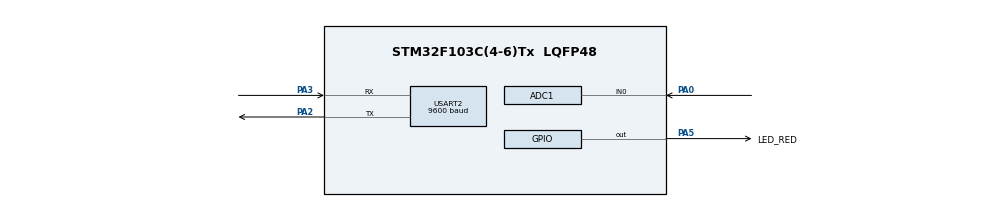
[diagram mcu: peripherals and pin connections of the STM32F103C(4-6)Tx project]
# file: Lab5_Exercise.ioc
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ADC1.Channel-0\#ChannelRegularConversion=ADC_CHANNEL_0
ADC1.ContinuousConvMode=ENABLE
ADC1.NbrOfConversionFlag=1
ADC1.Rank-0\#ChannelRegularConversion=1
ADC1.SamplingTime-0\#ChannelRegularConversion=ADC_SAMPLETIME_1CYCLE_5
ADC1.master=1
Mcu.Family=STM32F1
Mcu.Name=STM32F103C(4-6)Tx
Mcu.Package=LQFP48
NVIC.PriorityGroup=NVIC_PRIORITYGROUP_4
NVIC.TIM2_IRQn=true\:0\:0\:false\:false\:true\:true\:true\:true
NVIC.USART2_IRQn=true\:0\:0\:false\:false\:true\:true\:true\:true
PA0-WKUP.Signal=ADCx_IN0
PA2.Mode=Asynchronous
PA2.Signal=USART2_TX
PA3.Mode=Asynchronous
PA3.Signal=USART2_RX
PA5.GPIO_Label=LED_RED
PA5.Signal=GPIO_Output
ProjectManager.HeapSize=0x200
ProjectManager.StackSize=0x400
ProjectManager.TargetToolchain=STM32CubeIDE
RCC.APB1Freq_Value=8000000
RCC.APB2Freq_Value=8000000
SH.ADCx_IN0.0=ADC1_IN0,IN0
TIM2.Period=9
TIM2.Prescaler=7999
USART2.BaudRate=9600
USART2.VirtualMode=VM_ASYNC
VP_TIM2_VS_ClockSourceINT.Mode=Internal
board=custom

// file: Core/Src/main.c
/* USER CODE BEGIN Header */
/**
  ******************************************************************************
  * @file           : main.c
  * @brief          : Main program body
  ******************************************************************************
  * @attention
  *
  * Copyright (c) 2023 STMicroelectronics.
  * All rights reserved.
  *
  * This software is licensed under terms that can be found in the LICENSE file
  * in the root directory of this software component.
  * If no LICENSE file comes with this software, it is provided AS-IS.
  *
  ******************************************************************************
  */
/* USER CODE END Header */
#include "main.h"

/* USER CODE BEGIN Includes */
#include "software_timer.h"
#include "command_parser_fsm.h"
#include "global.h"
#include "stdio.h"
#include "string.h"
/* USER CODE END Includes */

ADC_HandleTypeDef hadc1;

TIM_HandleTypeDef htim2;

UART_HandleTypeDef huart2;

void SystemClock_Config(void);
static void MX_GPIO_Init(void);
static void MX_ADC1_Init(void);
static void MX_USART2_UART_Init(void);
static void MX_TIM2_Init(void);

/* USER CODE BEGIN 0 */

void HAL_UART_RxCpltCallback(UART_HandleTypeDef *huart) {
	if(huart->Instance == USART2) {
		HAL_UART_Transmit(&huart2 , &temp , 1 , 50) ;

		buffer[index_buffer++] = temp;
		if(index_buffer == MAX_BUFFER_SIZE) index_buffer = 0;
		buffer_flag = 1;
		HAL_UART_Receive_IT(&huart2, &temp, 1);
	}
}

void uart_communication_fsm() {
	switch(communicate_state){
	case INIT:
		communicate_state = WAIT_RST;
		break;
	case WAIT_RST:
		if(RST_flag == 1) {
			RST_flag = 0;
			setTimer1(300);
			communicate_state = GET_ADC;
		}
		break;
	case GET_ADC:
		adc_value = HAL_ADC_GetValue(&hadc1);
		communicate_state = PRINT_ADC;
		break;
	case PRINT_ADC:
		HAL_UART_Transmit(&huart2, (uint8_t*)str, sprintf(str, "!ADC = %ld# \r\n", adc_value), 50);
		communicate_state = WAIT_OK;
		break;
	case WAIT_OK:
		if(OK_flag == 1) {
			OK_flag = 0;
			timer1_flag = 1;
			communicate_state = WAIT_RST;
		}
		else if (timer1_flag == 1) {
			setTimer1(300);
			communicate_state = PRINT_ADC;
		}
		break;
	default:
		break;
	}
}
/* USER CODE END 0 */

int main(void)
{

  /* MCU Configuration--------------------------------------------------------*/

  /* Reset of all peripherals, Initializes the Flash interface and the Systick. */
  HAL_Init();

  /* Configure the system clock */
  SystemClock_Config();

  /* Initialize all configured peripherals */
  MX_GPIO_Init();
  MX_ADC1_Init();
  MX_USART2_UART_Init();
  MX_TIM2_Init();
  /* USER CODE BEGIN 2 */
  HAL_TIM_Base_Start_IT(&htim2);
  HAL_UART_Receive_IT(&huart2, &temp, 1);
  /* USER CODE END 2 */

  /* Infinite loop */
  /* USER CODE BEGIN WHILE */
  HAL_ADC_Start(&hadc1);
  //lab5
  while (1)
  {
//adc_value = HAL_ADC_GetValue(&hadc1);
	//  HAL_UART_Transmit(&huart2, (uint8_t*)str, sprintf(str, "!ADC = %ld# \r\n", adc_value), 1000);
	  //HAL_Delay(500);
	  if(buffer_flag == 1) {
		  command_parser_fsm();
		  buffer_flag = 0;
	  }
	  uart_communication_fsm();
    /* USER CODE END WHILE */

  }
}

void SystemClock_Config(void)
{
  RCC_OscInitTypeDef RCC_OscInitStruct = {0};
  RCC_ClkInitTypeDef RCC_ClkInitStruct = {0};
  RCC_PeriphCLKInitTypeDef PeriphClkInit = {0};

  /** Initializes the RCC Oscillators according to the specified parameters
  * in the RCC_OscInitTypeDef structure.
  */
  RCC_OscInitStruct.OscillatorType = RCC_OSCILLATORTYPE_HSI;
  RCC_OscInitStruct.HSIState = RCC_HSI_ON;
  RCC_OscInitStruct.HSICalibrationValue = RCC_HSICALIBRATION_DEFAULT;
  RCC_OscInitStruct.PLL.PLLState = RCC_PLL_NONE;
  if (HAL_RCC_OscConfig(&RCC_OscInitStruct) != HAL_OK)
  {
    Error_Handler();
  }

  /** Initializes the CPU, AHB and APB buses clocks
  */
  RCC_ClkInitStruct.ClockType = RCC_CLOCKTYPE_HCLK|RCC_CLOCKTYPE_SYSCLK
                              |RCC_CLOCKTYPE_PCLK1|RCC_CLOCKTYPE_PCLK2;
  RCC_ClkInitStruct.SYSCLKSource = RCC_SYSCLKSOURCE_HSI;
  RCC_ClkInitStruct.AHBCLKDivider = RCC_SYSCLK_DIV1;
  RCC_ClkInitStruct.APB1CLKDivider = RCC_HCLK_DIV1;
  RCC_ClkInitStruct.APB2CLKDivider = RCC_HCLK_DIV1;

  if (HAL_RCC_ClockConfig(&RCC_ClkInitStruct, FLASH_LATENCY_0) != HAL_OK)
  {
    Error_Handler();
  }
  PeriphClkInit.PeriphClockSelection = RCC_PERIPHCLK_ADC;
  PeriphClkInit.AdcClockSelection = RCC_ADCPCLK2_DIV2;
  if (HAL_RCCEx_PeriphCLKConfig(&PeriphClkInit) != HAL_OK)
  {
    Error_Handler();
  }
}

static void MX_ADC1_Init(void)
{

  ADC_ChannelConfTypeDef sConfig = {0};

  /** Common config
  */
  hadc1.Instance = ADC1;
  hadc1.Init.ScanConvMode = ADC_SCAN_DISABLE;
  hadc1.Init.ContinuousConvMode = ENABLE;
  hadc1.Init.DiscontinuousConvMode = DISABLE;
  hadc1.Init.ExternalTrigConv = ADC_SOFTWARE_START;
  hadc1.Init.DataAlign = ADC_DATAALIGN_RIGHT;
  hadc1.Init.NbrOfConversion = 1;
  if (HAL_ADC_Init(&hadc1) != HAL_OK)
  {
    Error_Handler();
  }

  /** Configure Regular Channel
  */
  sConfig.Channel = ADC_CHANNEL_0;
  sConfig.Rank = ADC_REGULAR_RANK_1;
  sConfig.SamplingTime = ADC_SAMPLETIME_1CYCLE_5;
  if (HAL_ADC_ConfigChannel(&hadc1, &sConfig) != HAL_OK)
  {
    Error_Handler();
  }

}

static void MX_TIM2_Init(void)
{

  TIM_ClockConfigTypeDef sClockSourceConfig = {0};
  TIM_MasterConfigTypeDef sMasterConfig = {0};

  htim2.Instance = TIM2;
  htim2.Init.Prescaler = 7999;
  htim2.Init.CounterMode = TIM_COUNTERMODE_UP;
  htim2.Init.Period = 9;
  htim2.Init.ClockDivision = TIM_CLOCKDIVISION_DIV1;
  htim2.Init.AutoReloadPreload = TIM_AUTORELOAD_PRELOAD_DISABLE;
  if (HAL_TIM_Base_Init(&htim2) != HAL_OK)
  {
    Error_Handler();
  }
  sClockSourceConfig.ClockSource = TIM_CLOCKSOURCE_INTERNAL;
  if (HAL_TIM_ConfigClockSource(&htim2, &sClockSourceConfig) != HAL_OK)
  {
    Error_Handler();
  }
  sMasterConfig.MasterOutputTrigger = TIM_TRGO_RESET;
  sMasterConfig.MasterSlaveMode = TIM_MASTERSLAVEMODE_DISABLE;
  if (HAL_TIMEx_MasterConfigSynchronization(&htim2, &sMasterConfig) != HAL_OK)
  {
    Error_Handler();
  }

}

static void MX_USART2_UART_Init(void)
{

  huart2.Instance = USART2;
  huart2.Init.BaudRate = 9600;
  huart2.Init.WordLength = UART_WORDLENGTH_8B;
  huart2.Init.StopBits = UART_STOPBITS_1;
  huart2.Init.Parity = UART_PARITY_NONE;
  huart2.Init.Mode = UART_MODE_TX_RX;
  huart2.Init.HwFlowCtl = UART_HWCONTROL_NONE;
  huart2.Init.OverSampling = UART_OVERSAMPLING_16;
  if (HAL_UART_Init(&huart2) != HAL_OK)
  {
    Error_Handler();
  }

}

static void MX_GPIO_Init(void)
{
  GPIO_InitTypeDef GPIO_InitStruct = {0};

  /* GPIO Ports Clock Enable */
  __HAL_RCC_GPIOA_CLK_ENABLE();

  /*Configure GPIO pin Output Level */
  HAL_GPIO_WritePin(LED_RED_GPIO_Port, LED_RED_Pin, GPIO_PIN_RESET);

  /*Configure GPIO pin : LED_RED_Pin */
  GPIO_InitStruct.Pin = LED_RED_Pin;
  GPIO_InitStruct.Mode = GPIO_MODE_OUTPUT_PP;
  GPIO_InitStruct.Pull = GPIO_NOPULL;
  GPIO_InitStruct.Speed = GPIO_SPEED_FREQ_LOW;
  HAL_GPIO_Init(LED_RED_GPIO_Port, &GPIO_InitStruct);

}

/* USER CODE BEGIN 4 */
void HAL_TIM_PeriodElapsedCallback(TIM_HandleTypeDef *htim) {
	timerRun();
}
/* USER CODE END 4 */

void Error_Handler(void)
{
  __disable_irq();
  while (1)
  {
  }
}
